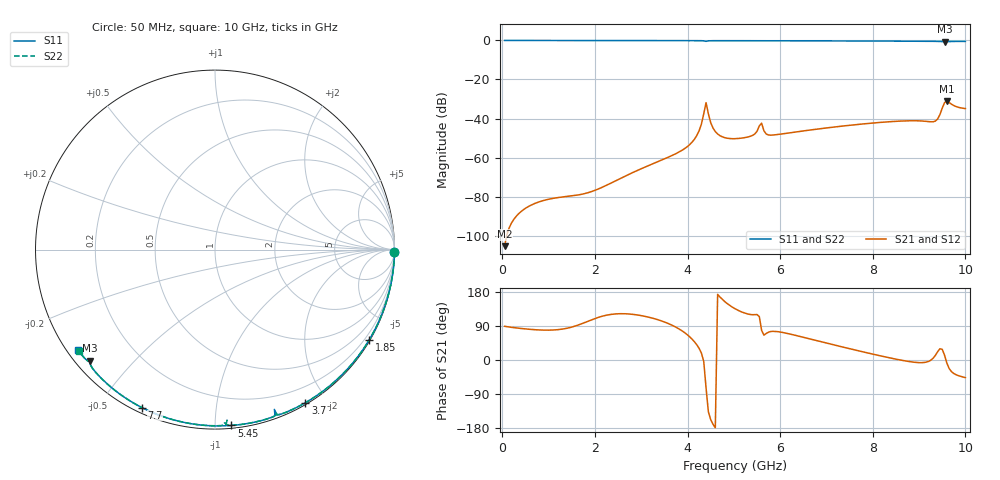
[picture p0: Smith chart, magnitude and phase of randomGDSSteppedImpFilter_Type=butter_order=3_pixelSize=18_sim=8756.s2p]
! freq	dB(S11)	phase(S11)	dB(S12)	phase(S12)
!  dB(S21)	phase(S21)	dB(S22)	phase(S22)
!S-par simulation data
#  GHz  S  DB  R 50
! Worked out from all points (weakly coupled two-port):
!   200 points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, 50 MHz to 10 GHz, reference 50 ohm
!   highest |S21| = -31.14 dB at 9.6 GHz (marker M1); lowest = -105.4 dB at 50 MHz (marker M2)
!   lowest |S11| = -0.6 dB at 9.55 GHz (marker M3), VSWR 27.76, Z = 2.06 - j19 ohm
!   |S11| at or under -10 dB: nowhere
!   |S22| runs from -0.6 to 0.0 dB; largest |S21 - S12| = 0
!   S11 on the Smith chart (normalised r, x): 50 MHz: open; 1.85 GHz: 0.03, -3.67; 3.7 GHz: 0.02, -1.75; 5.45 GHz: 0.02, -1.10; 7.7 GHz: 0.02, -0.64; 10 GHz: 0.03, -0.33
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0.05  -0.00 -0.8  -105.40 88.9  -105.40 88.9  -0.00 -0.8
1.75  -0.04 -28.8  -78.63 97.4  -78.63 97.4  -0.04 -28.8
1.85  -0.04 -30.5  -78.01 102.3  -78.01 102.3  -0.04 -30.4
3.4  -0.07 -54.8  -61.69 104.7  -61.69 104.7  -0.07 -54.7
3.7  -0.08 -59.4  -58.56 89.7  -58.56 89.7  -0.08 -59.2
4.2  -0.10 -67.1  -48.70 40.1  -48.70 40.1  -0.10 -66.8
4.3  -0.12 -68.9  -42.83 18.3  -42.83 18.3  -0.11 -68.4
4.4  -0.45 -69.6  -31.87 -73.5  -31.87 -73.5  -0.27 -69.5
4.5  -0.13 -70.6  -42.11 -157.3  -42.11 -157.3  -0.12 -70.7
4.6  -0.12 -72.3  -46.68 -178.9  -46.68 -178.9  -0.11 -72.3
5.05  -0.12 -79.0  -50.30 133.7  -50.30 133.7  -0.12 -79.0
5.45  -0.14 -84.7  -47.96 119.6  -47.96 119.6  -0.16 -85.0
5.6  -0.15 -86.7  -42.38 78.2  -42.38 78.2  -0.42 -85.9
5.65  -0.15 -87.4  -46.33 65.6  -46.33 65.6  -0.23 -86.4
5.75  -0.15 -88.8  -48.43 73.5  -48.43 73.5  -0.17 -88.2
6.7  -0.20 -101.8  -45.72 53.9  -45.72 53.9  -0.20 -101.4
7.7  -0.27 -114.9  -42.98 24.0  -42.98 24.0  -0.26 -114.5
8.35  -0.32 -123.3  -41.65 6.0  -41.65 6.0  -0.32 -122.9
9.35  -0.45 -136.3  -41.35 12.0  -41.35 12.0  -0.44 -135.8
9.55  -0.63 -138.3  -31.85 12.7  -31.85 12.7  -0.60 -138.0
9.6  -0.59 -138.4  -31.14 -8.2  -31.14 -8.2  -0.57 -138.1
10  -0.49 -143.9  -34.91 -46.6  -34.91 -46.6  -0.49 -143.5
